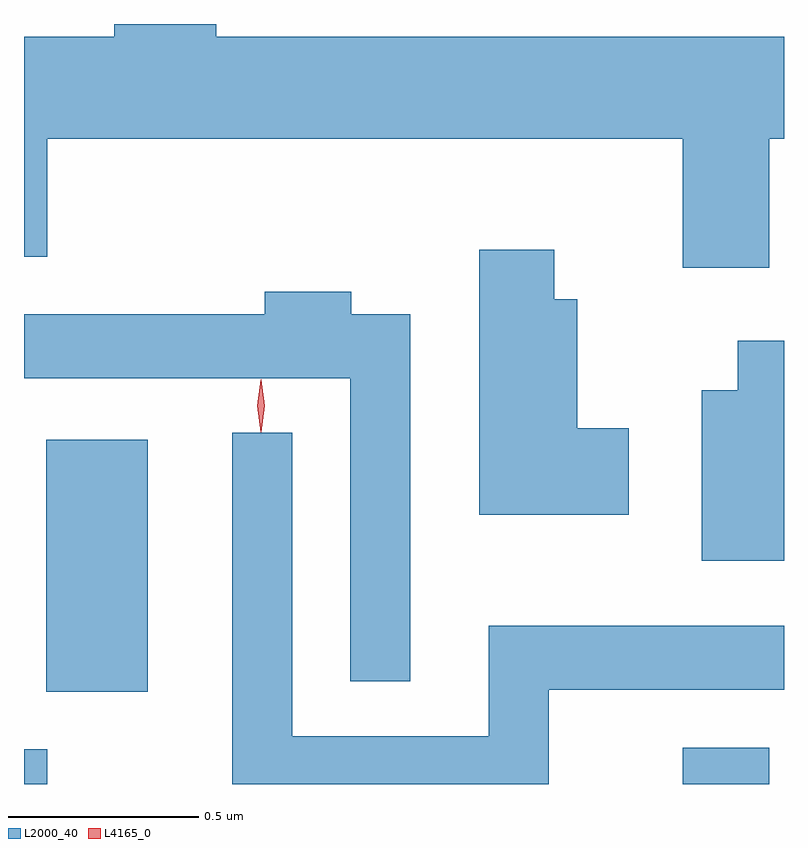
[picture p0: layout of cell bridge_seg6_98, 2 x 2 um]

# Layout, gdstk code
import gdstk
lib = gdstk.Library(unit=1e-6, precision=1e-09)
def R(c, l, rs):  # rectangles x0, y0, x1, y1
    for r in rs: c.add(gdstk.rectangle(r[:2], r[2:], *l))
def P(c, l, *ps):  # polygons
    for p in ps: c.add(gdstk.Polygon(p, *l))
L2000_40 = (2000, 40)
L4165_0 = (4165, 0)

bridge_seg6_98 = lib.new_cell('bridge_seg6_98')
R(bridge_seg6_98, L2000_40, [(1093.958,1612.718,1094.019,1612.809), (1095.691,1612.718,1095.919,1612.814), (1094.016,1612.961,1094.284,1613.624)])
P(bridge_seg6_98, L2000_40, [(1095.919,1614.416),(1095.958,1614.416),(1095.958,1614.684),(1094.464,1614.684),(1094.464,1614.718),(1094.196,1614.718),(1094.196,1614.684),(1093.958,1614.684),(1093.958,1614.106),(1094.019,1614.106),(1094.019,1614.416),(1095.691,1614.416),(1095.691,1614.076),(1095.919,1614.076)],
  [(1095.549,1613.654),(1095.414,1613.654),(1095.414,1613.994),(1095.354,1613.994),(1095.354,1614.124),(1095.156,1614.124),(1095.156,1613.426),(1095.549,1613.426)],
  [(1094.974,1613.954),(1094.819,1613.954),(1094.819,1614.014),(1094.591,1614.014),(1094.591,1613.954),(1093.958,1613.954),(1093.958,1613.786),(1094.816,1613.786),(1094.816,1612.988),(1094.974,1612.988)],
  [(1095.958,1613.884),(1095.836,1613.884),(1095.836,1613.754),(1095.741,1613.754),(1095.741,1613.306),(1095.958,1613.306)],
  [(1095.339,1612.966),(1095.958,1612.966),(1095.958,1613.134),(1095.181,1613.134),(1095.181,1612.844),(1094.664,1612.844),(1094.664,1613.643),(1094.506,1613.643),(1094.506,1612.718),(1095.339,1612.718)])
P(bridge_seg6_98, L4165_0, [(1094.581,1613.644),(1094.572,1613.713),(1094.581,1613.782),(1094.582,1613.783),(1094.582,1613.782),(1094.592,1613.713),(1094.582,1613.644),(1094.582,1613.644)])

lib.write_gds('bridge_seg6_98.gds')
